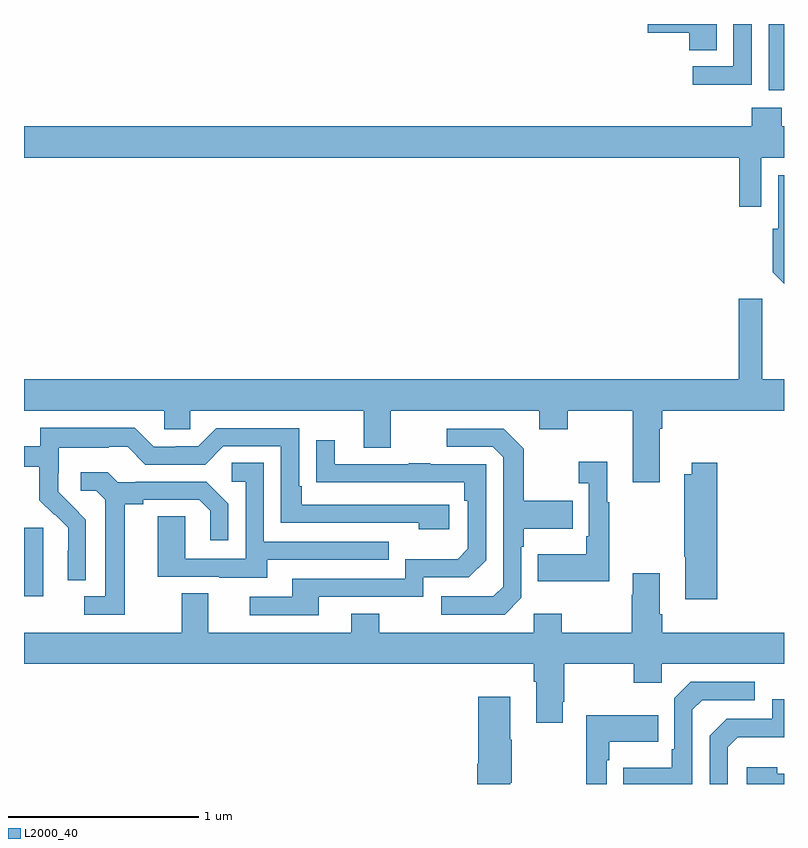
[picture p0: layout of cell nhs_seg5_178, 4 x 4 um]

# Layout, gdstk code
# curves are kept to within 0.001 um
import gdstk
lib = gdstk.Library(unit=1e-6, precision=1e-09)
def R(c, l, rs):  # rectangles x0, y0, x1, y1
    for r in rs: c.add(gdstk.rectangle(r[:2], r[2:], *l))
def P(c, l, *ps):  # polygons
    for p in ps: c.add(gdstk.Polygon(p, *l))
L2000_40 = (2000, 40)

nhs_seg5_178 = lib.new_cell('nhs_seg5_178')
R(nhs_seg5_178, L2000_40, [(121,851.786,121.102,852.147), (124.919,854.45,125,854.799)])
P(nhs_seg5_178, L2000_40, [(124.83,854.799),(124.734,854.799),(124.734,854.577),(124.521,854.577),(124.521,854.479),(124.83,854.479)],
  [(124.645,854.799),(124.284,854.799),(124.284,854.753),(124.502,854.753),(124.502,854.662),(124.645,854.662)],
  [(124.881,854.096),(125,854.096),(125,854.26),(124.989,854.26),(124.989,854.359),(124.829,854.359),(124.829,854.26),(121,854.26),(121,854.096),(124.765,854.096),(124.765,853.836),(124.881,853.836)],
  [(125,854.002),(124.97,854.002),(124.97,853.722),(124.94,853.722),(124.94,853.493),(125,853.433)],
  [(124.345,852.668),(124.358,852.668),(124.358,852.764),(125,852.764),(125,852.928),(124.885,852.928),(124.885,853.354),(124.763,853.354),(124.763,852.928),(121,852.928),(121,852.764),(121.737,852.764),(121.737,852.666),(121.875,852.666),(121.875,852.764),(122.789,852.764),(122.789,852.57),(122.929,852.57),(122.929,852.764),(123.713,852.764),(123.713,852.665),(123.861,852.665),(123.861,852.764),(124.205,852.764),(124.205,852.387),(124.345,852.387)],
  [(121.326,852.19),(121.18,852.338),(121.18,852.435),(121.182,852.435),(121.182,852.569),(121.445,852.569),(121.445,852.573),(121.545,852.573),(121.638,852.48),(121.953,852.48),(122.049,852.576),(122.352,852.576),(122.352,852.174),(123.077,852.174),(123.077,852.14),(123.238,852.14),(123.238,852.27),(122.461,852.27),(122.461,852.367),(122.448,852.367),(122.448,852.672),(122.013,852.672),(121.917,852.576),(121.799,852.576),(121.799,852.573),(121.683,852.573),(121.583,852.673),(121.086,852.673),(121.086,852.576),(121,852.576),(121,852.468),(121.081,852.468),(121.081,852.293),(121.158,852.216),(121.161,852.219),(121.232,852.149),(121.232,852.026),(121.23,852.026),(121.23,851.872),(121.326,851.872)],
  [(123.618,851.778),(123.618,852.047),(123.631,852.047),(123.631,852.143),(123.887,852.143),(123.887,852.291),(123.631,852.291),(123.631,852.563),(123.525,852.669),(123.225,852.669),(123.225,852.573),(123.468,852.573),(123.522,852.519),(123.522,851.838),(123.471,851.787),(123.195,851.787),(123.195,851.691),(123.531,851.691)],
  [(122.551,851.784),(123.102,851.784),(123.102,851.886),(123.342,851.886),(123.432,851.976),(123.432,852.483),(123.137,852.483),(123.137,852.488),(123.025,852.488),(123.025,852.483),(122.635,852.483),(122.635,852.607),(122.539,852.607),(122.539,852.388),(123.316,852.387),(123.316,852.29),(123.336,852.29),(123.336,852.036),(123.283,851.983),(123.006,851.983),(123.006,851.88),(122.411,851.88),(122.411,851.784),(122.187,851.784),(122.187,851.688),(122.551,851.688)],
  [(124.081,852.283),(124.069,852.283),(124.069,852.496),(123.921,852.496),(123.921,852.383),(123.972,852.383),(123.972,852.103),(123.96,852.103),(123.96,852.007),(123.703,852.007),(123.703,851.867),(124.081,851.867)],
  [(122.281,851.979),(122.921,851.979),(122.921,852.075),(122.262,852.075),(122.262,852.491),(122.094,852.491),(122.094,852.39),(122.166,852.39),(122.166,851.985),(121.848,851.985),(121.848,852.209),(121.703,852.209),(121.703,851.889),(122.027,851.889),(122.027,851.885),(122.281,851.885)],
  [(124.649,852.49),(124.514,852.49),(124.514,852.43),(124.474,852.43),(124.474,851.995),(124.481,851.995),(124.481,851.772),(124.649,851.772)],
  [(121.531,852.272),(121.627,852.272),(121.627,852.294),(121.922,852.294),(121.979,852.237),(121.979,852.081),(122.076,852.081),(122.076,852.274),(121.96,852.39),(121.588,852.39),(121.588,852.387),(121.494,852.387),(121.442,852.439),(121.299,852.439),(121.299,852.342),(121.38,852.342),(121.427,852.295),(121.427,851.787),(121.317,851.787),(121.317,851.691),(121.531,851.691)],
  [(123.835,851.233),(123.843,851.233),(123.843,851.432),(124.21,851.432),(124.21,851.333),(124.356,851.333),(124.356,851.432),(125,851.432),(125,851.596),(124.358,851.596),(124.358,851.692),(124.345,851.692),(124.345,851.908),(124.205,851.908),(124.205,851.795),(124.198,851.795),(124.198,851.596),(123.831,851.596),(123.831,851.695),(123.684,851.695),(123.684,851.596),(122.871,851.596),(122.871,851.695),(122.723,851.695),(122.723,851.596),(121.969,851.596),(121.969,851.804),(121.829,851.804),(121.829,851.596),(121,851.596),(121,851.432),(123.683,851.432),(123.683,851.336),(123.695,851.336),(123.695,851.121),(123.835,851.121)],
  [(124.518,851.19),(124.569,851.241),(124.846,851.241),(124.846,851.337),(124.509,851.337),(124.422,851.25),(124.422,850.981),(124.41,850.981),(124.41,850.885),(124.153,850.885),(124.153,850.799),(124.518,850.799)],
  [(123.559,850.805),(123.567,850.805),(123.567,851.033),(123.559,851.033),(123.559,851.257),(123.392,851.257),(123.392,850.905),(123.386,850.905),(123.386,850.799),(123.559,850.799)],
  [(124.704,850.992),(124.757,851.045),(125,851.045),(125,851.244),(124.938,851.244),(124.938,851.142),(124.698,851.142),(124.608,851.052),(124.608,850.799),(124.704,850.799)],
  [(124.068,850.925),(124.081,850.925),(124.081,851.021),(124.337,851.021),(124.337,851.161),(123.96,851.161),(123.96,850.799),(124.068,850.799)],
  [(125,850.854),(124.964,850.854),(124.964,850.888),(124.803,850.888),(124.803,850.799),(125,850.799)])

lib.write_gds('nhs_seg5_178.gds')
